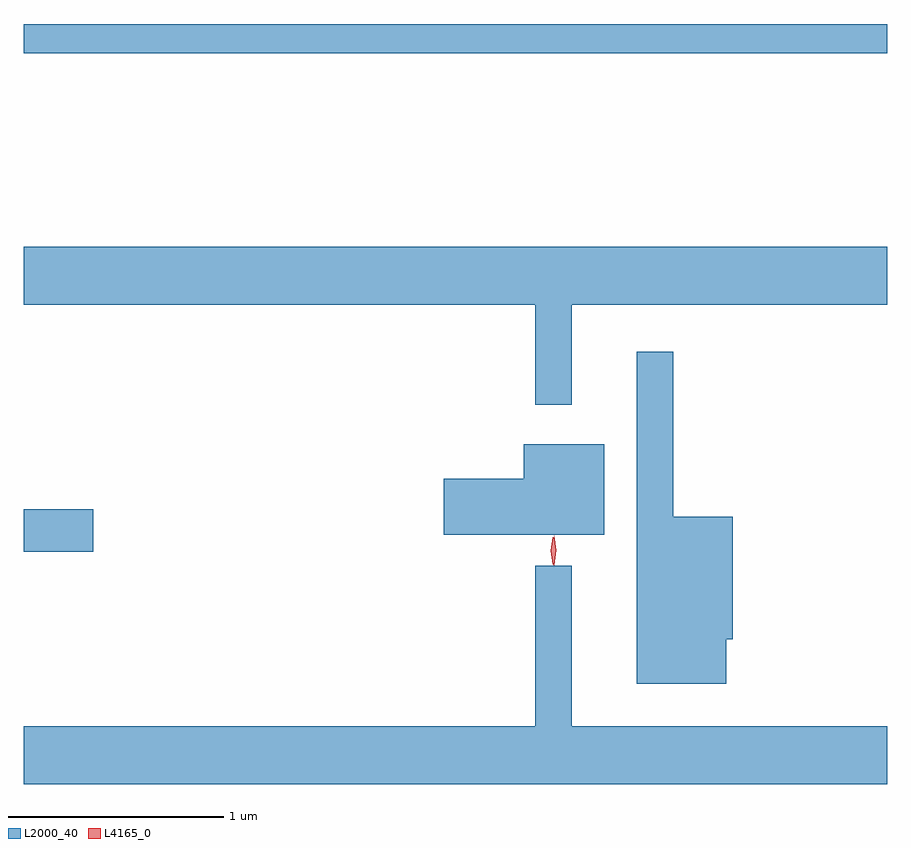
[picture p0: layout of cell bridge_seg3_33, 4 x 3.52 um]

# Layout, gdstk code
import gdstk
lib = gdstk.Library(unit=1e-6, precision=1e-09)
def R(c, l, rs):  # rectangles x0, y0, x1, y1
    for r in rs: c.add(gdstk.rectangle(r[:2], r[2:], *l))
def P(c, l, *ps):  # polygons
    for p in ps: c.add(gdstk.Polygon(p, *l))
L2000_40 = (2000, 40)
L4165_0 = (4165, 0)

bridge_seg3_33 = lib.new_cell('bridge_seg3_33')
R(bridge_seg3_33, L2000_40, [(1436.941,1151.511,1437.264,1151.709), (1436.941,1153.821,1440.941,1153.956)])
P(bridge_seg3_33, L2000_40, [(1439.479,1152.656),(1440.941,1152.656),(1440.941,1152.924),(1436.941,1152.924),(1436.941,1152.656),(1439.311,1152.656),(1439.311,1152.193),(1439.479,1152.193)],
  [(1440.194,1151.106),(1440.224,1151.106),(1440.224,1151.674),(1439.949,1151.674),(1439.949,1152.438),(1439.781,1152.438),(1439.781,1150.901),(1440.194,1150.901)],
  [(1439.629,1152.009),(1439.256,1152.009),(1439.256,1151.849),(1438.886,1151.849),(1438.886,1151.591),(1439.629,1151.591)],
  [(1440.941,1150.704),(1439.479,1150.704),(1439.479,1151.448),(1439.311,1151.448),(1439.311,1150.704),(1436.941,1150.704),(1436.941,1150.436),(1440.941,1150.436)])
P(bridge_seg3_33, L4165_0, [(1439.397,1151.45),(1439.397,1151.45),(1439.388,1151.518),(1439.398,1151.586),(1439.399,1151.586),(1439.399,1151.586),(1439.408,1151.518),(1439.398,1151.45)],
  [(1439.392,1151.453),(1439.392,1151.454),(1439.382,1151.516),(1439.392,1151.58),(1439.392,1151.58),(1439.393,1151.58),(1439.402,1151.516),(1439.393,1151.454)])

lib.write_gds('bridge_seg3_33.gds')
